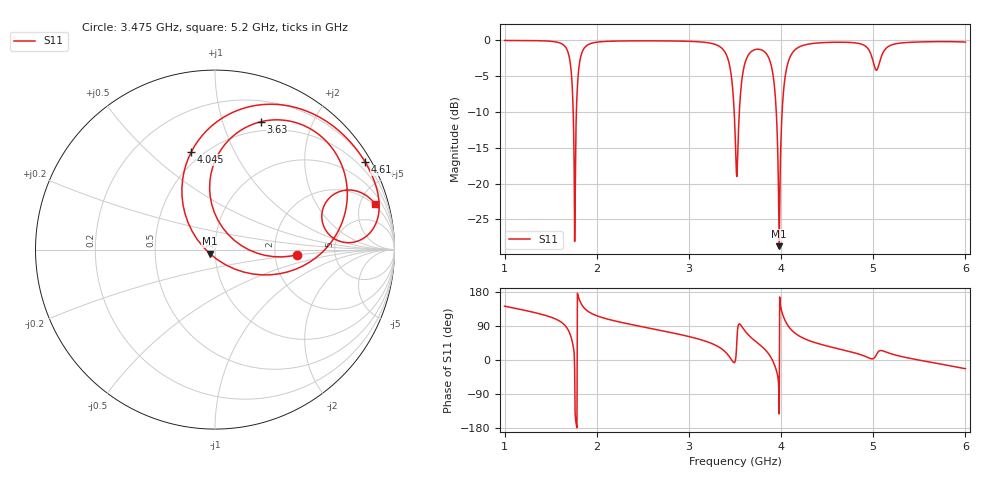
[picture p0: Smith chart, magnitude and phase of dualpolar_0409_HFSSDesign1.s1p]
! Touchstone file from project dualpolar_0409
! Exported from HFSS 2018.0.0
! Variables:
!  feed_posx = 13mm
!  feed_rad = 0.5mm
!  lam = 90mm
!  patchh = 0mm
!  subh = 0.8mm
!  subx = 90mm
!  suby = 90mm
!  upatchx = 40mm
!  upatchy = 40mm
# GHZ S MA R 50.000000
! Modal data exported
! Port[1] = 1:1
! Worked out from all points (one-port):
!   1001 points, 1 GHz to 6 GHz, reference 50 ohm
!   lowest |S11| = -28.7 dB at 3.98 GHz (marker M1), VSWR 1.08, Z = 47.1 - j2.12 ohm
!   |S11| at or under -10 dB: 1.744 GHz to 1.779 GHz (34.82 MHz wide, 1.98 % of centre); 3.491 GHz to 3.547 GHz (55.84 MHz wide, 1.59 % of centre); 3.948 GHz to 4.011 GHz (63.33 MHz wide, 1.59 % of centre)
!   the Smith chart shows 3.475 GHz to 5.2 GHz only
!   S11 on the Smith chart (normalised r, x): 3.475 GHz: 2.66, -0.20; 3.63 GHz: 0.40, +1.34; 4.045 GHz: 0.43, +0.69; 4.61 GHz: 0.24, +3.69; 5.2 GHz: 1.82, +6.66
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1  0.9962 142.0
! Gamma ! 0 0
! Port Impedance50 0
1.625  0.9405 98.0
1.725  0.5801 57.2
1.75  0.2168 28.0
1.775  0.2529 -166.3
1.805  0.634 163.3
1.85  0.8513 141.4
1.975  0.9633 119.2
2.25  0.9878 100.1
2.875  0.9869 68.9
3.36  0.8759 28.5
3.475  0.4567 -3.7
3.5  0.2351 -4.9
3.525  0.1304 71.6
3.555  0.3852 94.2
3.63  0.7567 70.3
3.855  0.778 19.3
3.925  0.4966 -10.7
3.98  0.03656 -142.1
4.045  0.5608 103.6
4.125  0.8202 76.3
4.61  0.9683 30.2
4.75  0.9646 21.9
4.98  0.7813 3.1
5.045  0.6286 18.6
5.2  0.9278 15.9
5.375  0.9649 5.6
6  0.9706 -23.0
